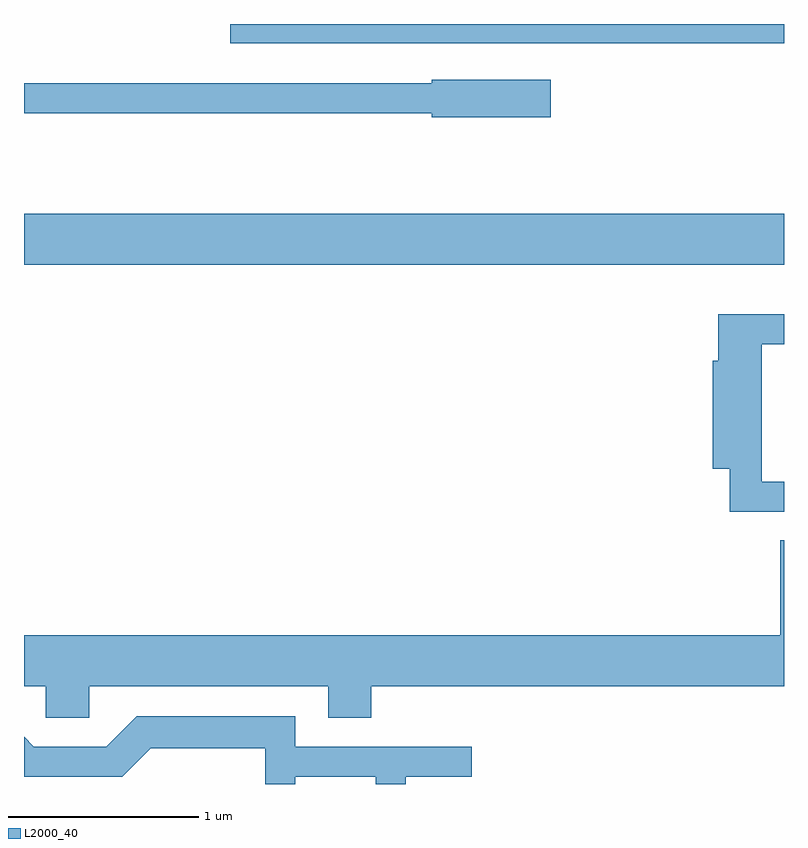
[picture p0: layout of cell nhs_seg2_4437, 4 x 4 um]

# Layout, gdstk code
import gdstk
lib = gdstk.Library(unit=1e-6, precision=1e-09)
def R(c, l, rs):  # rectangles x0, y0, x1, y1
    for r in rs: c.add(gdstk.rectangle(r[:2], r[2:], *l))
def P(c, l, *ps):  # polygons
    for p in ps: c.add(gdstk.Polygon(p, *l))
L2000_40 = (2000, 40)

nhs_seg2_4437 = lib.new_cell('nhs_seg2_4437')
R(nhs_seg2_4437, L2000_40, [(315.611,1050.536,319.611,1050.804), (316.696,1051.701,319.611,1051.802)])
P(nhs_seg2_4437, L2000_40, [(318.384,1051.509),(317.756,1051.509),(317.756,1051.489),(315.611,1051.489),(315.611,1051.331),(317.756,1051.331),(317.756,1051.311),(318.384,1051.311)],
  [(319.611,1049.394),(319.494,1049.394),(319.494,1050.116),(319.611,1050.116),(319.611,1050.274),(319.266,1050.274),(319.266,1050.029),(319.236,1050.029),(319.236,1049.461),(319.326,1049.461),(319.326,1049.236),(319.611,1049.236)],
  [(315.954,1048.316),(317.211,1048.316),(317.211,1048.151),(317.439,1048.151),(317.439,1048.316),(319.611,1048.316),(319.611,1049.084),(319.591,1049.084),(319.591,1048.584),(315.611,1048.584),(315.611,1048.316),(315.726,1048.316),(315.726,1048.151),(315.954,1048.151)],
  [(317.039,1047.841),(317.461,1047.841),(317.461,1047.802),(317.619,1047.802),(317.619,1047.841),(317.968,1047.841),(317.968,1047.999),(317.039,1047.999),(317.039,1048.159),(316.204,1048.159),(316.044,1047.999),(315.662,1047.999),(315.611,1048.05),(315.611,1047.841),(316.127,1047.841),(316.277,1047.991),(316.881,1047.991),(316.881,1047.802),(317.039,1047.802)])

lib.write_gds('nhs_seg2_4437.gds')
